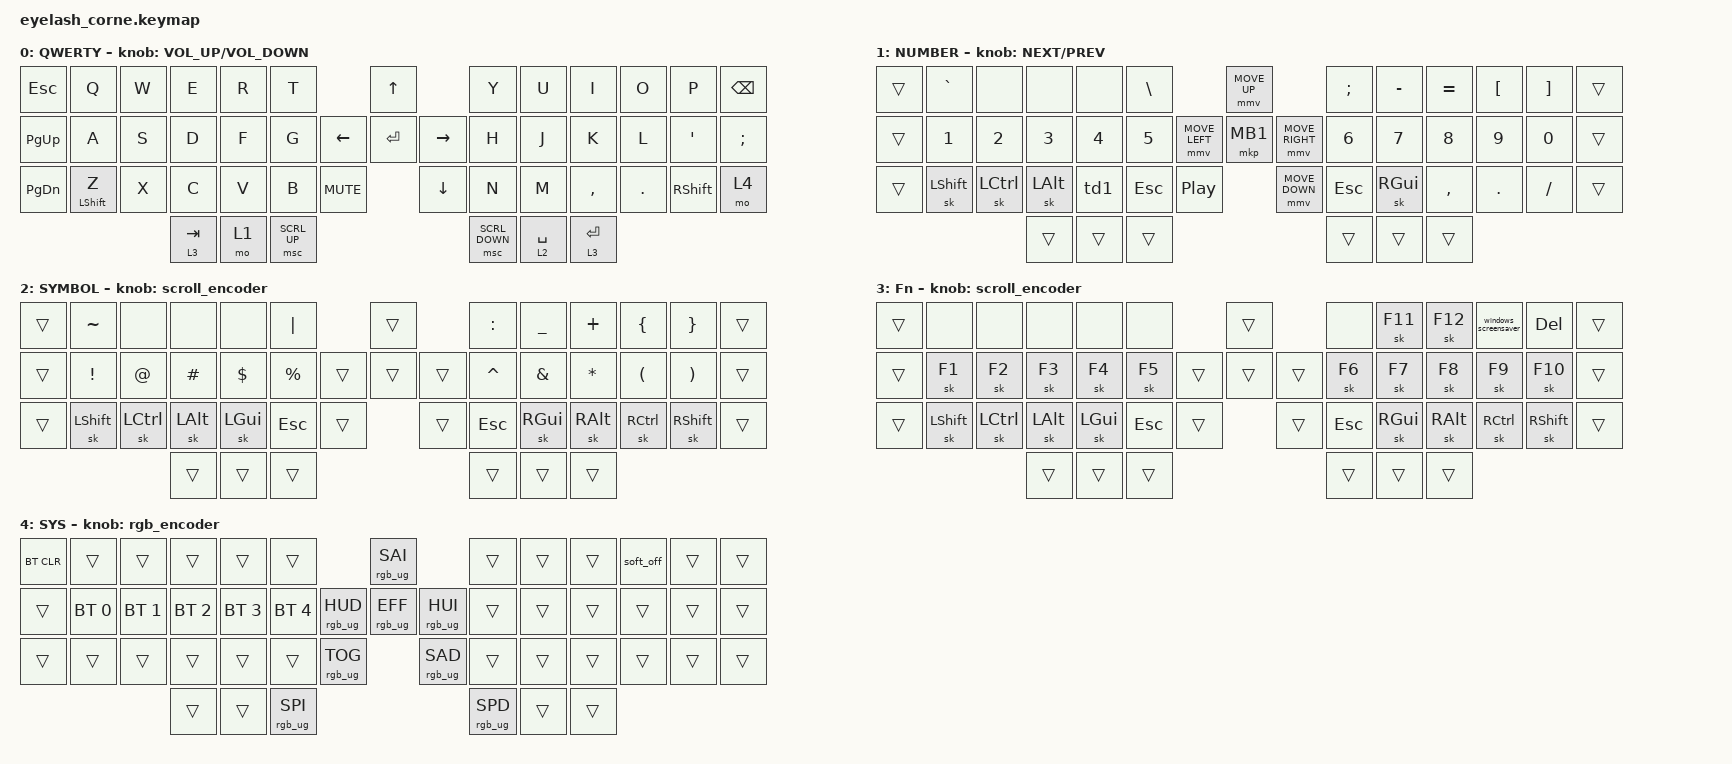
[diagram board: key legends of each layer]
#define ZMK_POINTING_DEFAULT_MOVE_VAL 1200  // 600
#define ZMK_POINTING_DEFAULT_SCRL_VAL 100   // 10

#include <input/processors.dtsi>
#include <zephyr/dt-bindings/input/input-event-codes.h>
#include <behaviors.dtsi>
#include <dt-bindings/zmk/bt.h>
#include <dt-bindings/zmk/keys.h>
#include <dt-bindings/zmk/pointing.h>
#include <dt-bindings/zmk/rgb.h>

&mmv_input_listener { input-processors = <&zip_xy_scaler 2 1>; };

&msc_input_listener { input-processors = <&zip_scroll_scaler 2 1>; };

&msc {
    acceleration-exponent = <1>;      // 0
    time-to-max-speed-ms = <100>;       // 300
    delay-ms = <0>;                   // 0
};

&mmv {
    time-to-max-speed-ms = <1000>;
    trigger-period-ms = <16>;
};

&soft_off { hold-time-ms = <2000>; };

&mt {
    tapping-term-ms = <155>;
    flavor = "hold-preferred";
};

&sk { quick-release; };

/ {
    behaviors {
        td0: td0 {
            compatible = "zmk,behavior-tap-dance";
            display-name = "Shift/Caps Lock Tap Dance";
            #binding-cells = <0>;
            bindings = <&kp LEFT_SHIFT>, <&kp CAPS>;

            label = "shift-caps";
        };

        td1: td1 {
            compatible = "zmk,behavior-tap-dance";
            label = "sticky_lgui-lgui";
            #binding-cells = <0>;
            bindings = <&sk LEFT_WIN>, <&kp LEFT_WIN>;

            tapping-term-ms = <200>;
        };

        balanced_mt: balanced_mt {
            compatible = "zmk,behavior-hold-tap";
            label = "BALANCED_MT";
            bindings = <&kp>, <&kp>;

            #binding-cells = <2>;
            flavor = "balanced";
            tapping-term-ms = <155>;
        };
    };

    rgb_encoder: rgb_encoder {
        compatible = "zmk,behavior-sensor-rotate";
        #sensor-binding-cells = <0>;
        bindings = <&rgb_ug RGB_BRI>, <&rgb_ug RGB_BRD>;
    };

    scroll_encoder: scroll_encoder {
        compatible = "zmk,behavior-sensor-rotate";
        #sensor-binding-cells = <0>;
        bindings = <&msc SCRL_DOWN>, <&msc SCRL_UP>;

        tap-ms = <30>;
    };

    combos {
        compatible = "zmk,combos";

        Forward-Slash {
            bindings = <&kp SLASH>;
            key-positions = <38 39>;
            timeout-ms = <33>;
        };

        Esc {
            bindings = <&kp ESCAPE>;
            key-positions = <1 2>;
            timeout-ms = <33>;
        };

        Bspc {
            bindings = <&kp BACKSPACE>;
            key-positions = <24 25>;
            timeout-ms = <33>;
        };

        Bspc2 {
            bindings = <&kp BACKSPACE>;
            key-positions = <24 23>;
            timeout-ms = <33>;
        };

        Question {
            bindings = <&kp QUESTION>;
            key-positions = <38 39 40>;
            timeout-ms = <33>;
        };
    };

    macros {
        windows_screensaver: windows_screensaver {
            compatible = "zmk,behavior-macro";
            #binding-cells = <0>;
            bindings =
                <&macro_press>,
                <&kp LCMD &kp R>,
                <&macro_release>,
                <&kp LCMD &kp R>,
                <&macro_wait_time 50>,
                <&macro_tap>,
                <&kp LS(C) &kp COLON &kp BSLH &kp LS(S) &kp DOT &kp L &kp N &kp K>,
                <&macro_wait_time 100>,
                <&kp ENTER>;

            label = "WINDOWS_SCREENSAVER";
        };
    };

    keymap {
        compatible = "zmk,keymap";

        default_layer {
            display-name = "QWERTY";
            bindings = <
&kp ESCAPE     &kp Q                  &kp W  &kp E      &kp R  &kp T                                 &kp UP                &kp Y           &kp U        &kp I        &kp O    &kp P            &kp BACKSPACE
&kp PAGE_UP    &kp A                  &kp S  &kp D      &kp F  &kp G                       &kp LEFT  &kp ENTER  &kp RIGHT  &kp H           &kp J        &kp K        &kp L    &kp APOSTROPHE   &kp SEMI
&kp PAGE_DOWN  &balanced_mt LSHIFT Z  &kp X  &kp C      &kp V  &kp B         &kp C_MUTE              &kp DOWN              &kp N           &kp M        &kp COMMA    &kp DOT  &kp RIGHT_SHIFT  &mo 4
                                             &lt 3 TAB  &mo 1  &msc SCRL_UP                                                &msc SCRL_DOWN  &lt 2 SPACE  &lt 3 ENTER
            >;

            sensor-bindings = <&inc_dec_kp C_VOLUME_UP C_VOLUME_DOWN>;
        };

        lower_layer {
            display-name = "NUMBER";
            bindings = <
&trans  &kp GRAVE       &none      &none     &none   &kp BSLH                                      &mmv MOVE_UP                     &kp SEMI  &kp MINUS  &kp EQUAL  &kp LBKT  &kp RBKT  &trans
&trans  &kp N1          &kp N2     &kp N3    &kp N4  &kp N5                        &mmv MOVE_LEFT  &mkp MB1        &mmv MOVE_RIGHT  &kp N6    &kp N7     &kp N8     &kp N9    &kp N0    &trans
&trans  &sk LEFT_SHIFT  &sk LCTRL  &sk LALT  &td1    &kp ESC   &kp C_PLAY_PAUSE                    &mmv MOVE_DOWN                   &kp ESC   &sk RGUI   &kp COMMA  &kp DOT   &kp FSLH  &trans
                                   &trans    &trans  &trans                                                                         &trans    &trans     &trans
            >;

            sensor-bindings = <&inc_dec_kp C_NEXT C_PREV>;
        };

        raise_layer {
            display-name = "SYMBOL";
            bindings = <
&trans  &kp TILDE        &none        &none     &none       &kp PIPE                       &trans          &kp COLON  &kp UNDER  &kp PLUS   &kp LEFT_BRACE        &kp RIGHT_BRACE        &trans
&trans  &kp EXCLAMATION  &kp AT_SIGN  &kp HASH  &kp DOLLAR  &kp PERCENT            &trans  &trans  &trans  &kp CARET  &kp AMPS   &kp ASTRK  &kp LEFT_PARENTHESIS  &kp RIGHT_PARENTHESIS  &trans
&trans  &sk LSHFT        &sk LCTRL    &sk LALT  &sk LGUI    &kp ESC      &trans            &trans          &kp ESC    &sk RGUI   &sk RALT   &sk RCTRL             &sk RSHFT              &trans
                                      &trans    &trans      &trans                                         &trans     &trans     &trans
            >;

            sensor-bindings = <&scroll_encoder>;
        };

        layer_3 {
            display-name = "Fn";
            bindings = <
&trans  &none      &none      &none     &none     &none                      &trans          &none    &sk F11   &sk F12   &windows_screensaver  &kp DEL    &trans
&trans  &sk F1     &sk F2     &sk F3    &sk F4    &sk F5             &trans  &trans  &trans  &sk F6   &sk F7    &sk F8    &sk F9                &sk F10    &trans
&trans  &sk LSHFT  &sk LCTRL  &sk LALT  &sk LGUI  &kp ESC  &trans            &trans          &kp ESC  &sk RGUI  &sk RALT  &sk RCTRL             &sk RSHFT  &trans
                              &trans    &trans    &trans                                     &trans   &trans    &trans
            >;

            sensor-bindings = <&scroll_encoder>;
        };

        layer_4 {
            display-name = "SYS";
            bindings = <
&bt BT_CLR  &trans        &trans        &trans        &trans        &trans                                               &rgb_ug RGB_SAI                   &trans           &trans  &trans  &soft_off  &trans  &trans
&trans      &bt BT_SEL 0  &bt BT_SEL 1  &bt BT_SEL 2  &bt BT_SEL 3  &bt BT_SEL 4                        &rgb_ug RGB_HUD  &rgb_ug RGB_EFF  &rgb_ug RGB_HUI  &trans           &trans  &trans  &trans     &trans  &trans
&trans      &trans        &trans        &trans        &trans        &trans           &rgb_ug RGB_TOG                     &rgb_ug RGB_SAD                   &trans           &trans  &trans  &trans     &trans  &trans
                                        &trans        &trans        &rgb_ug RGB_SPI                                                                        &rgb_ug RGB_SPD  &trans  &trans
            >;

            sensor-bindings = <&rgb_encoder>;
        };
    };
};
